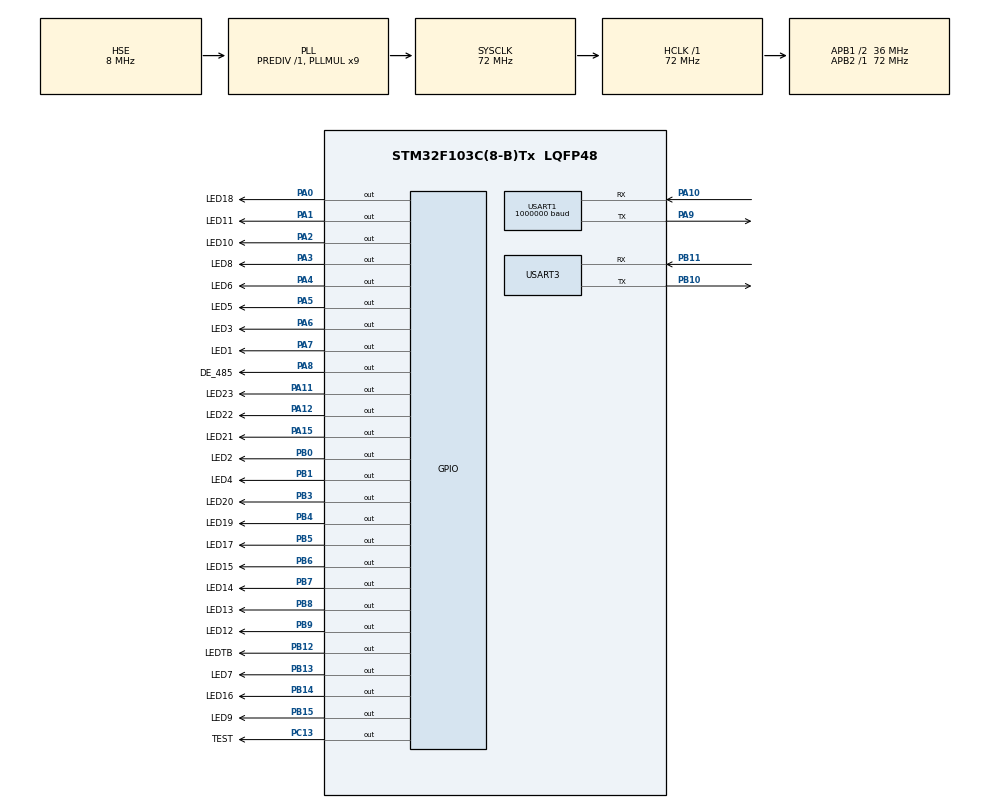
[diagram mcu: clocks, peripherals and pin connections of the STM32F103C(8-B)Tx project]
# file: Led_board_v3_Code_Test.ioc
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Dma.Request0=USART1_RX
Dma.Request1=USART1_TX
Dma.USART1_RX.0.Direction=DMA_PERIPH_TO_MEMORY
Dma.USART1_RX.0.Instance=DMA1_Channel5
Dma.USART1_RX.0.MemDataAlignment=DMA_MDATAALIGN_BYTE
Dma.USART1_RX.0.MemInc=DMA_MINC_ENABLE
Dma.USART1_RX.0.Mode=DMA_NORMAL
Dma.USART1_RX.0.PeriphDataAlignment=DMA_PDATAALIGN_BYTE
Dma.USART1_RX.0.PeriphInc=DMA_PINC_DISABLE
Dma.USART1_RX.0.Priority=DMA_PRIORITY_LOW
Dma.USART1_TX.1.Direction=DMA_MEMORY_TO_PERIPH
Dma.USART1_TX.1.Instance=DMA1_Channel4
Dma.USART1_TX.1.MemDataAlignment=DMA_MDATAALIGN_BYTE
Dma.USART1_TX.1.MemInc=DMA_MINC_ENABLE
Dma.USART1_TX.1.Mode=DMA_NORMAL
Dma.USART1_TX.1.PeriphDataAlignment=DMA_PDATAALIGN_BYTE
Dma.USART1_TX.1.PeriphInc=DMA_PINC_DISABLE
Dma.USART1_TX.1.Priority=DMA_PRIORITY_LOW
Mcu.Family=STM32F1
Mcu.Name=STM32F103C(8-B)Tx
Mcu.Package=LQFP48
NVIC.DMA1_Channel4_IRQn=true\:0\:0\:false\:false\:true\:false\:true\:true
NVIC.DMA1_Channel5_IRQn=true\:0\:0\:false\:false\:true\:false\:true\:true
NVIC.PriorityGroup=NVIC_PRIORITYGROUP_4
NVIC.TIM1_UP_IRQn=true\:2\:0\:true\:false\:true\:true\:true\:true
NVIC.TIM2_IRQn=true\:1\:0\:true\:false\:true\:true\:true\:true
NVIC.USART1_IRQn=true\:0\:0\:false\:false\:true\:true\:true\:true
NVIC.USART3_IRQn=true\:0\:0\:false\:false\:true\:true\:true\:true
PA0-WKUP.GPIO_Label=LED18
PA0-WKUP.Signal=GPIO_Output
PA1.GPIO_Label=LED11
PA1.Signal=GPIO_Output
PA10.Mode=Asynchronous
PA10.Signal=USART1_RX
PA11.GPIO_Label=LED23
PA11.Signal=GPIO_Output
PA12.GPIO_Label=LED22
PA12.Signal=GPIO_Output
PA13.Mode=Serial_Wire
PA13.Signal=SYS_JTMS-SWDIO
PA14.Mode=Serial_Wire
PA14.Signal=SYS_JTCK-SWCLK
PA15.GPIO_Label=LED21
PA15.Signal=GPIO_Output
PA2.GPIO_Label=LED10
PA2.Signal=GPIO_Output
PA3.GPIO_Label=LED8
PA3.Signal=GPIO_Output
PA4.GPIO_Label=LED6
PA4.Signal=GPIO_Output
PA5.GPIO_Label=LED5
PA5.Signal=GPIO_Output
PA6.GPIO_Label=LED3
PA6.Signal=GPIO_Output
PA7.GPIO_Label=LED1
PA7.Signal=GPIO_Output
PA8.GPIO_Label=DE_485
PA8.Signal=GPIO_Output
PA9.Mode=Asynchronous
PA9.Signal=USART1_TX
PB0.GPIO_Label=LED2
PB0.Signal=GPIO_Output
PB1.GPIO_Label=LED4
PB1.Signal=GPIO_Output
PB10.Mode=Asynchronous
PB10.Signal=USART3_TX
PB11.Mode=Asynchronous
PB11.Signal=USART3_RX
PB12.GPIO_Label=LEDTB
PB12.Signal=GPIO_Output
PB13.GPIO_Label=LED7
PB13.Signal=GPIO_Output
PB14.GPIO_Label=LED16
PB14.Signal=GPIO_Output
PB15.GPIO_Label=LED9
PB15.Signal=GPIO_Output
PB3.GPIO_Label=LED20
PB3.Signal=GPIO_Output
PB4.GPIO_Label=LED19
PB4.Signal=GPIO_Output
PB5.GPIO_Label=LED17
PB5.Signal=GPIO_Output
PB6.GPIO_Label=LED15
PB6.Signal=GPIO_Output
PB7.GPIO_Label=LED14
PB7.Signal=GPIO_Output
PB8.GPIO_Label=LED13
PB8.Signal=GPIO_Output
PB9.GPIO_Label=LED12
PB9.Signal=GPIO_Output
PC13-TAMPER-RTC.GPIO_Label=TEST
PC13-TAMPER-RTC.Signal=GPIO_Output
PD0-OSC_IN.Mode=HSE-External-Oscillator
PD0-OSC_IN.Signal=RCC_OSC_IN
PD1-OSC_OUT.Mode=HSE-External-Oscillator
PD1-OSC_OUT.Signal=RCC_OSC_OUT
ProjectManager.HeapSize=0x200
ProjectManager.StackSize=0x400
ProjectManager.TargetToolchain=MDK-ARM V5.32
RCC.AHBFreq_Value=72000000
RCC.APB1CLKDivider=RCC_HCLK_DIV2
RCC.APB1Freq_Value=36000000
RCC.APB1TimFreq_Value=72000000
RCC.APB2Freq_Value=72000000
RCC.APB2TimFreq_Value=72000000
RCC.HCLKFreq_Value=72000000
RCC.PLLMUL=RCC_PLL_MUL9
RCC.PLLSourceVirtual=RCC_PLLSOURCE_HSE
RCC.SYSCLKFreq_VALUE=72000000
RCC.SYSCLKSource=RCC_SYSCLKSOURCE_PLLCLK
RCC.USBFreq_Value=72000000
TIM1.Prescaler=72-1
TIM2.Period=999
TIM2.Prescaler=72-1
USART1.BaudRate=1000000
USART1.VirtualMode=VM_ASYNC
USART3.VirtualMode=VM_ASYNC
VP_TIM1_VS_ClockSourceINT.Mode=Internal
VP_TIM2_VS_ClockSourceINT.Mode=Internal
board=custom

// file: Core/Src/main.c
/* USER CODE BEGIN Header */
/**
  ******************************************************************************
  * @file           : main.c
  * @brief          : Main program body
  ******************************************************************************
  * @attention
  *
  * Copyright (c) 2024 STMicroelectronics.
  * All rights reserved.
  *
  * This software is licensed under terms that can be found in the LICENSE file
  * in the root directory of this software component.
  * If no LICENSE file comes with this software, it is provided AS-IS.
  *
  ******************************************************************************
  */
/* USER CODE END Header */
#include "main.h"

/* USER CODE BEGIN Includes */
#include "scan_led.h"
#include "rs485.h"
#include "uart.h"

/* USER CODE END Includes */

TIM_HandleTypeDef htim1;
TIM_HandleTypeDef htim2;

UART_HandleTypeDef huart1;
UART_HandleTypeDef huart3;
DMA_HandleTypeDef hdma_usart1_rx;
DMA_HandleTypeDef hdma_usart1_tx;

/* USER CODE BEGIN PV */
	uint32_t tick_whileTrue = 0;

/* USER CODE END PV */

void SystemClock_Config(void);
static void MX_GPIO_Init(void);
static void MX_DMA_Init(void);
static void MX_USART1_UART_Init(void);
static void MX_TIM1_Init(void);
static void MX_TIM2_Init(void);
static void MX_USART3_UART_Init(void);

/* USER CODE BEGIN 0 */

	/*_____________________________________________________________*/
	void HAL_UART_RxCpltCallback(UART_HandleTypeDef *huart)
	{
		if(huart->Instance == USART1)
		{
			RS485_Read(&vRS485);
		}
		if(huart->Instance == USART3)
		{
			UART_Read(&vUART3_JIG);
		}
	}

	/*_____________________________________________________________*/
		void HAL_TIM_PeriodElapsedCallback(TIM_HandleTypeDef *htim)
		{
			UNUSED(htim);
			if (htim->Instance == htim2.Instance)	// every 1ms
			{

			}

		}

/* USER CODE END 0 */

int main(void)
{

  /* MCU Configuration--------------------------------------------------------*/

  /* Reset of all peripherals, Initializes the Flash interface and the Systick. */
  HAL_Init();

  /* Configure the system clock */
  SystemClock_Config();

  /* Initialize all configured peripherals */
  MX_GPIO_Init();
  MX_DMA_Init();
  MX_USART1_UART_Init();
  MX_TIM1_Init();
  MX_TIM2_Init();
  MX_USART3_UART_Init();
  /* USER CODE BEGIN 2 */

		FLAG_Init(&vFlag);
		RS485_Init(&vRS485, MACH_LED);
		UART_Init(&vUART3_JIG, &huart3);

		Full_LED(on);		HAL_Delay(100);
		Full_LED(off);	HAL_Delay(100);

		HAL_TIM_Base_Start_IT(&htim1);
		HAL_TIM_Base_Start_IT(&htim2);

		Full_LED(on);
  /* USER CODE END 2 */

  /* Infinite loop */
  while (1)
  {

    /* USER CODE BEGIN 3 */

		if(++tick_whileTrue >= 1000000)
			tick_whileTrue = 0;

		Handle_Data_RS485_Rx(&vRS485);

		RS485_SendData(&vRS485, USART1, 1000);

		Handle_CMD_From_Jig(&vUART3_JIG);

  }
  /* USER CODE END 3 */
}

void SystemClock_Config(void)
{
  RCC_OscInitTypeDef RCC_OscInitStruct = {0};
  RCC_ClkInitTypeDef RCC_ClkInitStruct = {0};

  /** Initializes the RCC Oscillators according to the specified parameters
  * in the RCC_OscInitTypeDef structure.
  */
  RCC_OscInitStruct.OscillatorType = RCC_OSCILLATORTYPE_HSE;
  RCC_OscInitStruct.HSEState = RCC_HSE_ON;
  RCC_OscInitStruct.HSEPredivValue = RCC_HSE_PREDIV_DIV1;
  RCC_OscInitStruct.HSIState = RCC_HSI_ON;
  RCC_OscInitStruct.PLL.PLLState = RCC_PLL_ON;
  RCC_OscInitStruct.PLL.PLLSource = RCC_PLLSOURCE_HSE;
  RCC_OscInitStruct.PLL.PLLMUL = RCC_PLL_MUL9;
  if (HAL_RCC_OscConfig(&RCC_OscInitStruct) != HAL_OK)
  {
    Error_Handler();
  }

  /** Initializes the CPU, AHB and APB buses clocks
  */
  RCC_ClkInitStruct.ClockType = RCC_CLOCKTYPE_HCLK|RCC_CLOCKTYPE_SYSCLK
                              |RCC_CLOCKTYPE_PCLK1|RCC_CLOCKTYPE_PCLK2;
  RCC_ClkInitStruct.SYSCLKSource = RCC_SYSCLKSOURCE_PLLCLK;
  RCC_ClkInitStruct.AHBCLKDivider = RCC_SYSCLK_DIV1;
  RCC_ClkInitStruct.APB1CLKDivider = RCC_HCLK_DIV2;
  RCC_ClkInitStruct.APB2CLKDivider = RCC_HCLK_DIV1;

  if (HAL_RCC_ClockConfig(&RCC_ClkInitStruct, FLASH_LATENCY_2) != HAL_OK)
  {
    Error_Handler();
  }
}

static void MX_TIM1_Init(void)
{

  TIM_ClockConfigTypeDef sClockSourceConfig = {0};
  TIM_MasterConfigTypeDef sMasterConfig = {0};

  htim1.Instance = TIM1;
  htim1.Init.Prescaler = 72-1;
  htim1.Init.CounterMode = TIM_COUNTERMODE_UP;
  htim1.Init.Period = 65535;
  htim1.Init.ClockDivision = TIM_CLOCKDIVISION_DIV1;
  htim1.Init.RepetitionCounter = 0;
  htim1.Init.AutoReloadPreload = TIM_AUTORELOAD_PRELOAD_DISABLE;
  if (HAL_TIM_Base_Init(&htim1) != HAL_OK)
  {
    Error_Handler();
  }
  sClockSourceConfig.ClockSource = TIM_CLOCKSOURCE_INTERNAL;
  if (HAL_TIM_ConfigClockSource(&htim1, &sClockSourceConfig) != HAL_OK)
  {
    Error_Handler();
  }
  sMasterConfig.MasterOutputTrigger = TIM_TRGO_RESET;
  sMasterConfig.MasterSlaveMode = TIM_MASTERSLAVEMODE_DISABLE;
  if (HAL_TIMEx_MasterConfigSynchronization(&htim1, &sMasterConfig) != HAL_OK)
  {
    Error_Handler();
  }

}

static void MX_TIM2_Init(void)
{

  TIM_ClockConfigTypeDef sClockSourceConfig = {0};
  TIM_MasterConfigTypeDef sMasterConfig = {0};

  htim2.Instance = TIM2;
  htim2.Init.Prescaler = 72-1;
  htim2.Init.CounterMode = TIM_COUNTERMODE_UP;
  htim2.Init.Period = 999;
  htim2.Init.ClockDivision = TIM_CLOCKDIVISION_DIV1;
  htim2.Init.AutoReloadPreload = TIM_AUTORELOAD_PRELOAD_DISABLE;
  if (HAL_TIM_Base_Init(&htim2) != HAL_OK)
  {
    Error_Handler();
  }
  sClockSourceConfig.ClockSource = TIM_CLOCKSOURCE_INTERNAL;
  if (HAL_TIM_ConfigClockSource(&htim2, &sClockSourceConfig) != HAL_OK)
  {
    Error_Handler();
  }
  sMasterConfig.MasterOutputTrigger = TIM_TRGO_RESET;
  sMasterConfig.MasterSlaveMode = TIM_MASTERSLAVEMODE_DISABLE;
  if (HAL_TIMEx_MasterConfigSynchronization(&htim2, &sMasterConfig) != HAL_OK)
  {
    Error_Handler();
  }

}

static void MX_USART1_UART_Init(void)
{

  huart1.Instance = USART1;
  huart1.Init.BaudRate = 1000000;
  huart1.Init.WordLength = UART_WORDLENGTH_8B;
  huart1.Init.StopBits = UART_STOPBITS_1;
  huart1.Init.Parity = UART_PARITY_NONE;
  huart1.Init.Mode = UART_MODE_TX_RX;
  huart1.Init.HwFlowCtl = UART_HWCONTROL_NONE;
  huart1.Init.OverSampling = UART_OVERSAMPLING_16;
  if (HAL_UART_Init(&huart1) != HAL_OK)
  {
    Error_Handler();
  }

}

static void MX_USART3_UART_Init(void)
{

  huart3.Instance = USART3;
  huart3.Init.BaudRate = 115200;
  huart3.Init.WordLength = UART_WORDLENGTH_8B;
  huart3.Init.StopBits = UART_STOPBITS_1;
  huart3.Init.Parity = UART_PARITY_NONE;
  huart3.Init.Mode = UART_MODE_TX_RX;
  huart3.Init.HwFlowCtl = UART_HWCONTROL_NONE;
  huart3.Init.OverSampling = UART_OVERSAMPLING_16;
  if (HAL_UART_Init(&huart3) != HAL_OK)
  {
    Error_Handler();
  }

}

static void MX_DMA_Init(void)
{

  /* DMA controller clock enable */
  __HAL_RCC_DMA1_CLK_ENABLE();

  /* DMA interrupt init */
  /* DMA1_Channel4_IRQn interrupt configuration */
  HAL_NVIC_SetPriority(DMA1_Channel4_IRQn, 0, 0);
  HAL_NVIC_EnableIRQ(DMA1_Channel4_IRQn);
  /* DMA1_Channel5_IRQn interrupt configuration */
  HAL_NVIC_SetPriority(DMA1_Channel5_IRQn, 0, 0);
  HAL_NVIC_EnableIRQ(DMA1_Channel5_IRQn);

}

static void MX_GPIO_Init(void)
{
  GPIO_InitTypeDef GPIO_InitStruct = {0};

  /* GPIO Ports Clock Enable */
  __HAL_RCC_GPIOC_CLK_ENABLE();
  __HAL_RCC_GPIOD_CLK_ENABLE();
  __HAL_RCC_GPIOA_CLK_ENABLE();
  __HAL_RCC_GPIOB_CLK_ENABLE();

  /*Configure GPIO pin Output Level */
  HAL_GPIO_WritePin(TEST_GPIO_Port, TEST_Pin, GPIO_PIN_RESET);

  /*Configure GPIO pin Output Level */
  HAL_GPIO_WritePin(GPIOA, LED18_Pin|LED11_Pin|LED10_Pin|LED8_Pin
                          |LED6_Pin|LED5_Pin|LED3_Pin|LED1_Pin
                          |DE_485_Pin|LED23_Pin|LED22_Pin|LED21_Pin, GPIO_PIN_RESET);

  /*Configure GPIO pin Output Level */
  HAL_GPIO_WritePin(GPIOB, LED2_Pin|LED4_Pin|LEDTB_Pin|LED7_Pin
                          |LED16_Pin|LED9_Pin|LED20_Pin|LED19_Pin
                          |LED17_Pin|LED15_Pin|LED14_Pin|LED13_Pin
                          |LED12_Pin, GPIO_PIN_RESET);

  /*Configure GPIO pin : TEST_Pin */
  GPIO_InitStruct.Pin = TEST_Pin;
  GPIO_InitStruct.Mode = GPIO_MODE_OUTPUT_PP;
  GPIO_InitStruct.Pull = GPIO_NOPULL;
  GPIO_InitStruct.Speed = GPIO_SPEED_FREQ_LOW;
  HAL_GPIO_Init(TEST_GPIO_Port, &GPIO_InitStruct);

  /*Configure GPIO pins : LED18_Pin LED11_Pin LED10_Pin LED8_Pin
                           LED6_Pin LED5_Pin LED3_Pin LED1_Pin
                           DE_485_Pin LED23_Pin LED22_Pin LED21_Pin */
  GPIO_InitStruct.Pin = LED18_Pin|LED11_Pin|LED10_Pin|LED8_Pin
                          |LED6_Pin|LED5_Pin|LED3_Pin|LED1_Pin
                          |DE_485_Pin|LED23_Pin|LED22_Pin|LED21_Pin;
  GPIO_InitStruct.Mode = GPIO_MODE_OUTPUT_PP;
  GPIO_InitStruct.Pull = GPIO_NOPULL;
  GPIO_InitStruct.Speed = GPIO_SPEED_FREQ_LOW;
  HAL_GPIO_Init(GPIOA, &GPIO_InitStruct);

  /*Configure GPIO pins : LED2_Pin LED4_Pin LEDTB_Pin LED7_Pin
                           LED16_Pin LED9_Pin LED20_Pin LED19_Pin
                           LED17_Pin LED15_Pin LED14_Pin LED13_Pin
                           LED12_Pin */
  GPIO_InitStruct.Pin = LED2_Pin|LED4_Pin|LEDTB_Pin|LED7_Pin
                          |LED16_Pin|LED9_Pin|LED20_Pin|LED19_Pin
                          |LED17_Pin|LED15_Pin|LED14_Pin|LED13_Pin
                          |LED12_Pin;
  GPIO_InitStruct.Mode = GPIO_MODE_OUTPUT_PP;
  GPIO_InitStruct.Pull = GPIO_NOPULL;
  GPIO_InitStruct.Speed = GPIO_SPEED_FREQ_LOW;
  HAL_GPIO_Init(GPIOB, &GPIO_InitStruct);

}

void Error_Handler(void)
{
  __disable_irq();
  while (1)
  {
  }
}
